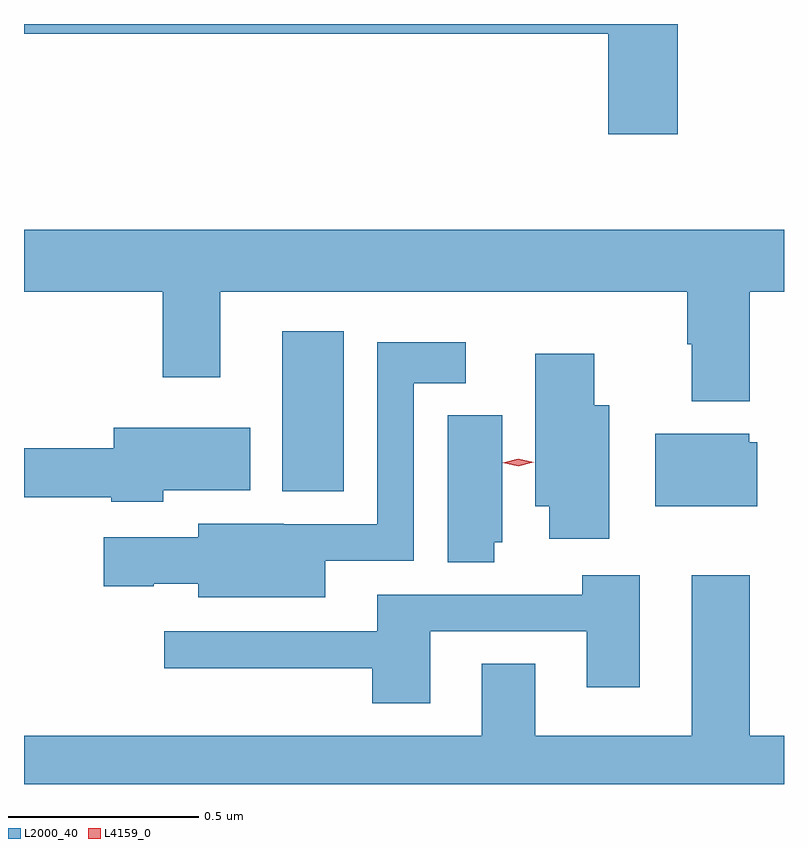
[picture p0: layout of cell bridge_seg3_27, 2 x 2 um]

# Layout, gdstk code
import gdstk
lib = gdstk.Library(unit=1e-6, precision=1e-09)
def R(c, l, rs):  # rectangles x0, y0, x1, y1
    for r in rs: c.add(gdstk.rectangle(r[:2], r[2:], *l))
def P(c, l, *ps):  # polygons
    for p in ps: c.add(gdstk.Polygon(p, *l))
L2000_40 = (2000, 40)
L4159_0 = (4159, 0)

bridge_seg3_27 = lib.new_cell('bridge_seg3_27')
R(bridge_seg3_27, L2000_40, [(702.38,717.707,702.541,718.129)])
P(bridge_seg3_27, L2000_40, [(703.421,718.937),(701.7,718.937),(701.7,718.912),(703.238,718.912),(703.238,718.647),(703.421,718.647)],
  [(703.61,718.232),(703.7,718.232),(703.7,718.396),(701.7,718.396),(701.7,718.232),(702.065,718.232),(702.065,718.008),(702.217,718.008),(702.217,718.232),(703.445,718.232),(703.445,718.094),(703.457,718.094),(703.457,717.944),(703.61,717.944)],
  [(702.493,717.525),(702.726,717.525),(702.726,717.992),(702.862,717.992),(702.862,718.099),(702.63,718.099),(702.63,717.621),(702.384,717.621),(702.384,717.622),(702.158,717.622),(702.158,717.586),(701.91,717.586),(701.91,717.457),(702.042,717.457),(702.042,717.464),(702.158,717.464),(702.158,717.428),(702.493,717.428)],
  [(703.24,717.934),(703.201,717.934),(703.201,718.069),(703.046,718.069),(703.046,717.668),(703.082,717.668),(703.082,717.582),(703.24,717.582)],
  [(702.937,717.573),(702.958,717.573),(702.958,717.907),(702.815,717.907),(702.815,717.52),(702.937,717.52)],
  [(702.066,717.71),(702.295,717.71),(702.295,717.874),(701.936,717.874),(701.936,717.82),(701.7,717.82),(701.7,717.691),(701.929,717.691),(701.929,717.68),(702.066,717.68)],
  [(703.63,717.837),(703.608,717.837),(703.608,717.859),(703.361,717.859),(703.361,717.668),(703.63,717.668)],
  [(703.7,717.064),(703.61,717.064),(703.61,717.487),(703.457,717.487),(703.457,717.064),(703.045,717.064),(703.045,717.254),(702.905,717.254),(702.905,717.064),(701.7,717.064),(701.7,716.937),(703.7,716.937)],
  [(702.769,717.339),(703.181,717.339),(703.181,717.192),(703.321,717.192),(703.321,717.487),(703.169,717.487),(703.169,717.435),(702.629,717.435),(702.629,717.339),(702.069,717.339),(702.069,717.242),(702.617,717.242),(702.617,717.15),(702.769,717.15)])
P(bridge_seg3_27, L4159_0, [(703.001,717.773),(702.96,717.782),(702.96,717.782),(702.96,717.782),(703.001,717.793),(703.042,717.784),(703.042,717.784),(703.042,717.784)])

lib.write_gds('bridge_seg3_27.gds')
